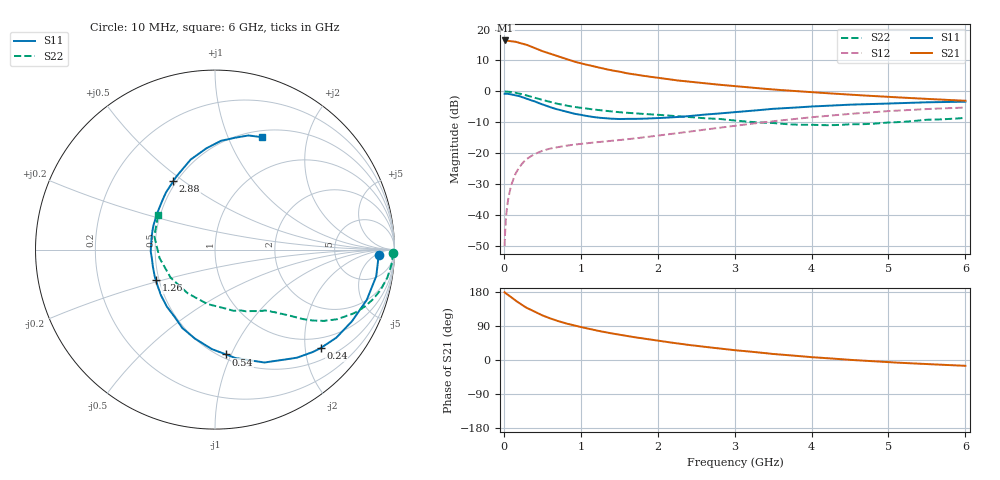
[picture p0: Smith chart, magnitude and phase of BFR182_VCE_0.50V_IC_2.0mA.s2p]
! Infineon Technologies  Discrete & RF Semiconductors
! BFR182
! VCE = 0.50 V,  IC =  2.0 mA
! Common Emitter S-Parameters:  Nov 2015
# GHz  S  MA  R  50
!  f  S11  S21  S12  S22
! GHz  MAG  ANG  MAG  ANG  MAG  ANG  MAG  ANG
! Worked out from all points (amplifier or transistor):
!   210 points, 10 MHz to 6 GHz, reference 50 ohm
!   highest |S21| = 16.5 dB at 20 MHz (marker M1)
!   |S21| within 3 dB of that: start of sweep to 454.5 MHz
!   unconditionally stable (mu >= 1): 1.352 GHz to 3.816 GHz
!   at 185 MHz: K = 0.19, MSG = 20.5 dB, |S12| = -25.3 dB
!   at 1.52 GHz: K = 1.06, MAG = 9.5 dB, |S12| = -15.8 dB
!   at 6 GHz: K = 0.99, MSG = 1.1 dB, |S12| = -5.3 dB
!   S11 on the Smith chart (normalised r, x): 10 MHz: 19, -7; 240 MHz: 0.75, -2.33; 540 MHz: 0.54, -0.96; 1.26 GHz: 0.48, -0.19; 2.88 GHz: 0.48, +0.46; 6 GHz: 0.57, +1.33
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0.01  0.9122 -2.0  6.578 178.8  0.0031 88.1  0.9927 -1.0
0.02  0.9109 -3.9  6.653 176.8  0.0063 88.6  0.9909 -2.0
0.04  0.9097 -7.6  6.594 173.9  0.0126 85.5  0.9882 -3.9
0.065  0.9023 -12.0  6.532 170.3  0.0203 82.5  0.9823 -6.1
0.1  0.8909 -18.3  6.479 165.2  0.0308 79.6  0.9728 -9.2
0.15  0.8613 -27.6  6.361 156.9  0.0457 73.5  0.9487 -13.9
0.24  0.8046 -43.0  5.927 144.9  0.0678 65.7  0.8948 -20.6
0.3  0.7553 -52.9  5.634 137.3  0.0804 61.3  0.8528 -24.5
0.36  0.7096 -60.6  5.255 131.7  0.0898 57.3  0.8111 -27.5
0.5  0.6148 -79.3  4.472 117.8  0.1085 50.5  0.7257 -33.2
0.54  0.5875 -84.0  4.308 114.8  0.1122 49.1  0.7042 -34.3
0.7  0.5083 -102.7  3.712 103.0  0.1245 44.7  0.6267 -38.2
0.8  0.4733 -112.6  3.364 96.9  0.1307 42.9  0.5898 -39.8
1.02  0.4107 -131.9  2.8 86.0  0.1412 41.2  0.5355 -42.7
1.26  0.3709 -152.6  2.382 75.7  0.1516 40.8  0.4921 -45.6
1.6  0.3582 -178.3  1.959 63.2  0.1673 42.5  0.4487 -49.5
2.02  0.3692 157.4  1.635 50.4  0.1929 44.4  0.4148 -55.7
2.88  0.4458 121.5  1.251 28.7  0.2636 44.8  0.3481 -75.3
3.1  0.47 115.2  1.182 24.1  0.2858 43.6  0.3275 -82.4
4.1  0.5739 93.1  0.949 6.2  0.3893 35.3  0.2836 -127.1
5.1  0.639 78.4  0.799 -6.8  0.4852 23.1  0.3156 -175.9
6  0.6786 67.4  0.702 -15.3  0.5447 10.2  0.3711 148.5
